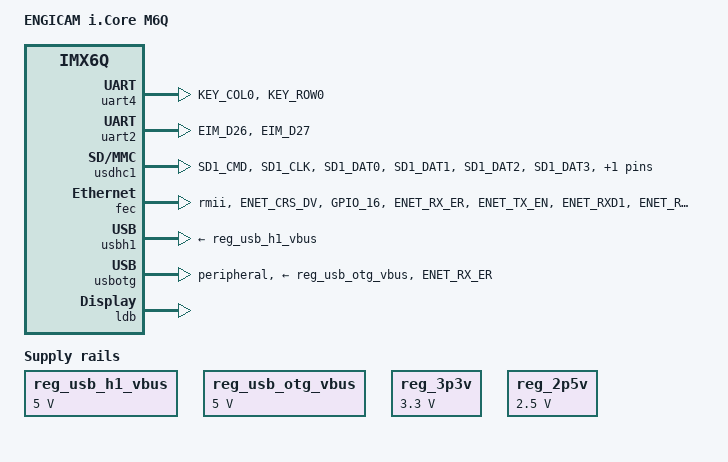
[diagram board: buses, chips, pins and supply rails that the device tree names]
/*
 * Copyright 2011 Freescale Semiconductor, Inc.
 * Copyright 2011 Linaro Ltd.
 *
 * The code contained herein is licensed under the GNU General Public
 * License. You may obtain a copy of the GNU General Public License
 * Version 2 or later at the following locations:
 *
 * http://www.opensource.org/licenses/gpl-license.html
 * http://www.gnu.org/copyleft/gpl.html
 */

/dts-v1/;
#include "imx6q.dtsi"

/ {
	model = "ENGICAM i.Core M6Q";
	compatible = "fsl,imx6q-engicam", "fsl,imx6q";

	regulators {
		compatible = "simple-bus";

		reg_usb_h1_vbus: usb_h1_vbus {
			compatible = "regulator-fixed";
			regulator-name = "usb_h1_vbus";
			regulator-min-microvolt = <5000000>;
			regulator-max-microvolt = <5000000>;
			regulator-always-on;
		};

		reg_usb_otg_vbus: usb_otg_vbus {
			compatible = "regulator-fixed";
			regulator-name = "usb_otg_vbus";
			regulator-min-microvolt = <5000000>;
			regulator-max-microvolt = <5000000>;
			regulator-always-on;
		};

		reg_3p3v: 3p3v {
			compatible = "regulator-fixed";
			regulator-name = "3P3V";
			regulator-min-microvolt = <3300000>;
			regulator-max-microvolt = <3300000>;
			regulator-always-on;
		};

		reg_2p5v: 2p5v {
			compatible = "regulator-fixed";
			regulator-name = "2P5V";
			regulator-min-microvolt = <2500000>;
			regulator-max-microvolt = <2500000>;
			regulator-always-on;
		};
	};
};

&gpc {
	fsl,cpu_pupscr_sw2iso = <0xf>;
	fsl,cpu_pupscr_sw = <0xf>;
	fsl,cpu_pdnscr_iso2sw = <0x1>;
	fsl,cpu_pdnscr_iso = <0x1>;
};

&uart4 {
	pinctrl-names = "default";
	pinctrl-0 = <&pinctrl_uart4>;
	status = "okay";
};

&uart2 {
	pinctrl-names = "default";
	pinctrl-0 = <&pinctrl_uart2>;
	status = "okay";
};


&usdhc1 {
	pinctrl-names = "default";
	pinctrl-0 = <&pinctrl_usdhc1_2>;
	cd-gpios = <&gpio1 1 0>;
	no-1-8-v;
	status = "okay";
};

&fec {
	pinctrl-names = "default";
	pinctrl-0 = <&pinctrl_enet_4>;
	phy-mode = "rmii";
	clocks = <&clks 117>, <&clks 117>, <&clks 117>; /* PTP clock from pin */
	clock-names = "ipg", "ahb", "ptp";
	status = "okay";
};

&usbh1 {
	vbus-supply = <&reg_usb_h1_vbus>;
	disable-over-current;
	status = "okay";
};

&usbotg {
	vbus-supply = <&reg_usb_otg_vbus>;
	pinctrl-names = "default";
	pinctrl-0 = <&pinctrl_usbotg_2>;
	disable-over-current;
	status = "okay";
        dr_mode = "peripheral";
};


&iomuxc {
	pinctrl-names = "default";
	pinctrl-0 = <&pinctrl_engicam>;
	hog {
		pinctrl_engicam: hoggrp {
		};
	};

	usdhc1 {
		pinctrl_usdhc1_2: usdhc1grp-2 {
			fsl,pins = <
				MX6QDL_PAD_SD1_CMD__SD1_CMD    0x17070
				MX6QDL_PAD_SD1_CLK__SD1_CLK    0x10070
				MX6QDL_PAD_SD1_DAT0__SD1_DATA0 0x17070
				MX6QDL_PAD_SD1_DAT1__SD1_DATA1 0x17070
				MX6QDL_PAD_SD1_DAT2__SD1_DATA2 0x17070
				MX6QDL_PAD_SD1_DAT3__SD1_DATA3 0x17070
				>;
		};
	};

	usbotg {
		pinctrl_usbotg_2: usbotggrp-2 {
			fsl,pins = <
				MX6QDL_PAD_ENET_RX_ER__USB_OTG_ID 0x17059
				>;
		};
	};

	uart4 {
		pinctrl_uart4: uart4grp {
			 fsl,pins = <
				MX6QDL_PAD_KEY_COL0__UART4_TX_DATA	0x1b0b1
				MX6QDL_PAD_KEY_ROW0__UART4_RX_DATA	0x1b0b1
			 >;
		};
	};

	uart2 {
		pinctrl_uart2: uart2grp-2 {
			fsl,pins = <
				MX6QDL_PAD_EIM_D26__UART2_TX_DATA 0x1b0b1
				MX6QDL_PAD_EIM_D27__UART2_RX_DATA 0x1b0b1
			>;
		};
	};

		pinctrl_enet_4: enetgrp-4 {
			fsl,pins = <
				MX6QDL_PAD_ENET_CRS_DV__ENET_RX_EN	0x1b0b0
				MX6QDL_PAD_GPIO_16__ENET_REF_CLK	0x1b0b1
				MX6QDL_PAD_ENET_RX_ER__ENET_RX_ER	0x1b0b0
				MX6QDL_PAD_ENET_TX_EN__ENET_TX_EN	0x1b0b0
				MX6QDL_PAD_ENET_RXD1__ENET_RX_DATA1	0x1b0b0
				MX6QDL_PAD_ENET_RXD0__ENET_RX_DATA0	0x1b0b0
				MX6QDL_PAD_ENET_TXD1__ENET_TX_DATA1	0x1b0b0
				MX6QDL_PAD_ENET_TXD0__ENET_TX_DATA0	0x1b0b0
				MX6QDL_PAD_ENET_MDC__ENET_MDC		0x1b0b0
				MX6QDL_PAD_ENET_MDIO__ENET_MDIO		0x1b0b0
				MX6QDL_PAD_ENET_REF_CLK__GPIO1_IO23	0x1b0b0
				MX6QDL_PAD_GPIO_17__GPIO7_IO12		0x1b0b0
			>;
		};

};

&ldb {
	status = "okay";

	lvds-channel@0 {
		fsl,data-mapping = "spwg";
		fsl,data-width = <18>;
		status = "okay";

		display-timings {
			native-mode = <&timing0>;
			timing0: hsd100pxn1 {
				clock-frequency = <65000000>;
				hactive = <1024>;
				vactive = <768>;
				hback-porch = <220>;
				hfront-porch = <40>;
				vback-porch = <21>;
				vfront-porch = <7>;
				hsync-len = <60>;
				vsync-len = <10>;
			};
		};
	};
};
